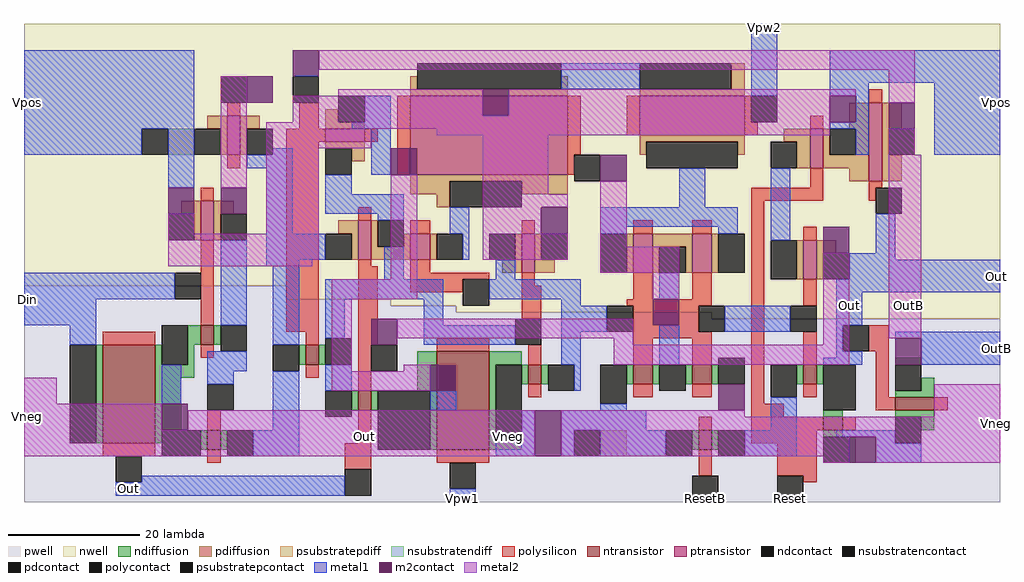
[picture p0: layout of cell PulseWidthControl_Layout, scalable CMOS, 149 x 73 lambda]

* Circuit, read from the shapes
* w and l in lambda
.subckt PulseWidthControl_Layout Din Out OutB Reset ResetB Vneg Vpos Vpw1 Vpw2
M1 Vneg Out Din Vneg nfet w=15 l=8
M2 n1 Din Vneg Vneg nfet w=3 l=2
M3 n2 n1 Vneg Vneg nfet w=3 l=2
M4 n3 OutB n2 Vneg nfet w=3 l=2
M5 n4 Out n3 Vneg nfet w=3 l=2
M6 Vneg Vpw1 n4 Vneg nfet w=15 l=8
M7 n5 n3 Vneg Vneg nfet w=3 l=2
M8 n6 n5 Vneg Vneg nfet w=3 l=3 m=2
M9 n7 ResetB Vneg Vneg nfet w=3 l=2
M10 Out n5 n7 Vneg nfet w=3 l=2
M11 Out Reset Vneg Vneg nfet w=3 l=2
M12 OutB Out Vneg Vneg nfet w=6 l=2
M13 n1 Din Vpos Vpos pfet w=6 l=2
M14 n2 n1 Vpos Vpos pfet w=6 l=2
M15 n4 OutB n3 Vpos pfet w=6 l=2
M16 n3 Out n2 Vpos pfet w=6 l=2
M17 n8 n5 n3 Vpos pfet w=4 l=3
M18 Vpos n6 n8 Vpos pfet w=24 l=12
M19 Vpos n3 n5 Vpos pfet w=6 l=2
M20 n6 n5 n9 Vpos pfet w=6 l=3 m=2
M21 Vpos Vpw2 n9 Vpos pfet w=16 l=6
M22 Out n5 n10 Vpos pfet w=6 l=2
M23 Vpos Reset n10 Vpos pfet w=6 l=2
M24 OutB Out Vpos Vpos pfet w=12 l=2
.ends

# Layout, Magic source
magic
tech scmos
<< nwell >>
rect -27 53 122 93
rect 13 51 122 53
rect 29 50 122 51
rect 39 49 122 50
rect 78 48 122 49
<< pwell >>
rect -27 51 13 53
rect -27 50 29 51
rect -27 49 39 50
rect -27 48 78 49
rect -27 20 122 48
<< ntransistor >>
rect -15 29 -7 44
rect 0 44 2 47
rect 16 41 18 44
rect 24 34 26 37
rect 1 28 3 31
rect 36 28 44 43
rect 50 38 52 41
rect 66 38 69 41
rect 75 38 78 41
rect 92 38 94 41
rect 106 34 112 36
rect 95 31 98 33
rect 76 28 78 31
<< ptransistor >>
rect 4 73 6 79
rect 19 75 25 77
rect 0 60 2 66
rect 32 70 56 82
rect 67 76 83 82
rect 93 71 95 77
rect 102 69 104 81
rect 24 57 26 63
rect 32 57 35 61
rect 49 55 51 61
rect 66 55 69 61
rect 75 55 78 61
rect 92 54 94 60
<< ndiffusion >>
rect -16 29 -15 44
rect -7 41 -6 44
rect -2 44 0 47
rect 2 44 3 47
rect -2 41 -1 44
rect -7 39 -1 41
rect 15 41 16 44
rect 18 41 19 44
rect -7 31 -3 39
rect 33 37 36 43
rect 23 34 24 37
rect 26 34 27 37
rect -7 29 -6 31
rect 0 28 1 31
rect 3 28 4 31
rect 35 28 36 37
rect 44 41 49 43
rect 44 30 45 41
rect 49 38 50 41
rect 52 38 53 41
rect 65 38 66 41
rect 69 38 70 41
rect 74 38 75 41
rect 78 38 79 41
rect 91 38 92 41
rect 94 38 95 41
rect 106 41 110 42
rect 110 37 112 39
rect 106 36 112 37
rect 95 33 98 34
rect 106 33 112 34
rect 44 28 49 30
rect 75 28 76 31
rect 78 28 79 31
rect 95 30 98 31
rect 99 26 100 30
rect 110 31 112 33
<< pdiffusion >>
rect 32 83 33 85
rect 55 83 56 85
rect 32 82 56 83
rect 81 83 83 87
rect 67 82 83 83
rect 1 77 4 79
rect 3 73 4 77
rect 6 77 9 79
rect 19 78 21 80
rect 19 77 25 78
rect 6 73 7 77
rect -3 64 0 66
rect -1 60 0 64
rect 2 64 5 66
rect 2 60 3 64
rect 19 74 25 75
rect 23 72 25 74
rect 99 77 102 81
rect 67 75 83 76
rect 89 75 93 77
rect 67 73 68 75
rect 32 69 56 70
rect 82 73 83 75
rect 91 71 93 75
rect 95 73 96 77
rect 100 73 102 77
rect 95 71 102 73
rect 32 67 38 69
rect 36 65 38 67
rect 49 67 56 69
rect 99 69 102 71
rect 104 77 107 81
rect 104 73 105 77
rect 104 69 107 73
rect 21 61 24 63
rect 23 57 24 61
rect 26 59 27 63
rect 31 59 32 61
rect 26 57 32 59
rect 35 57 36 61
rect 48 57 49 61
rect 46 55 49 57
rect 51 57 52 61
rect 51 55 54 57
rect 65 55 66 61
rect 69 59 75 61
rect 69 55 70 59
rect 74 55 75 59
rect 78 55 79 61
rect 91 54 92 60
rect 94 58 97 60
rect 94 54 95 58
<< ndcontact >>
rect -20 29 -16 44
rect -6 41 -2 47
rect 3 43 7 47
rect 11 40 15 44
rect 19 41 23 45
rect 19 33 23 37
rect -6 27 0 31
rect 4 27 8 31
rect 27 28 35 37
rect 45 30 49 41
rect 53 37 57 41
rect 61 35 65 41
rect 70 37 74 41
rect 79 38 83 42
rect 87 36 91 41
rect 95 34 100 41
rect 106 37 110 41
rect 71 27 75 31
rect 79 27 83 31
rect 95 26 99 30
rect 106 29 110 33
<< pdcontact >>
rect 33 83 55 87
rect 67 83 81 87
rect -1 73 3 77
rect 21 78 25 82
rect 7 73 11 77
rect -5 60 -1 64
rect 3 60 7 64
rect 19 70 23 74
rect 68 71 82 75
rect 87 71 91 75
rect 96 73 100 77
rect 38 65 49 69
rect 105 73 109 77
rect 19 57 23 61
rect 27 59 31 63
rect 36 57 40 61
rect 44 57 48 61
rect 52 57 56 61
rect 61 55 65 61
rect 70 55 74 59
rect 79 55 83 61
rect 87 54 91 60
rect 95 54 99 58
<< psubstratepdiff >>
rect 61 27 65 31
<< nsubstratendiff >>
rect -5 73 -1 77
<< psubstratepcontact >>
rect 57 27 61 31
<< nsubstratencontact >>
rect -9 73 -5 77
<< polysilicon >>
rect 4 79 6 81
rect 15 77 18 81
rect 13 75 19 77
rect 25 75 27 77
rect 4 71 6 73
rect 0 66 2 68
rect 0 47 2 60
rect -15 44 -7 46
rect 0 42 2 44
rect 13 46 18 75
rect 30 70 32 82
rect 56 73 58 82
rect 65 76 67 82
rect 83 78 84 82
rect 102 81 104 83
rect 83 76 85 78
rect 93 77 95 79
rect 56 70 57 73
rect 93 68 95 71
rect 84 66 95 68
rect 102 68 104 69
rect 102 66 103 68
rect 24 63 26 65
rect 32 61 35 63
rect 49 61 51 63
rect 66 61 69 63
rect 75 61 78 63
rect 16 44 18 46
rect 24 56 26 57
rect 24 44 27 56
rect 32 55 35 57
rect 32 54 44 55
rect 32 52 40 54
rect 49 53 51 55
rect 49 48 52 53
rect 66 51 69 55
rect 75 51 78 55
rect 65 50 78 51
rect 16 39 18 41
rect 24 37 26 44
rect 36 43 44 45
rect 66 46 76 50
rect 1 31 3 34
rect -15 27 -7 29
rect 1 26 3 28
rect 24 29 26 34
rect 22 25 26 29
rect 50 41 52 44
rect 66 45 78 46
rect 66 41 69 45
rect 75 41 78 45
rect 50 36 52 38
rect 66 36 69 38
rect 75 36 78 38
rect 84 35 86 66
rect 92 60 94 62
rect 92 50 94 54
rect 92 41 94 46
rect 102 43 105 47
rect 92 36 94 38
rect 84 33 89 35
rect 103 36 105 43
rect 103 34 106 36
rect 112 34 114 36
rect 76 31 78 33
rect 84 31 95 33
rect 98 31 100 33
rect 36 26 44 28
rect 76 24 78 28
rect 84 29 94 31
rect 88 24 94 29
rect 92 23 94 24
<< polycontact >>
rect 3 81 7 85
rect 14 81 18 85
rect -4 51 0 55
rect 84 78 88 82
rect 57 69 61 73
rect 40 50 44 54
rect 1 34 5 38
rect 26 40 30 44
rect 48 44 52 48
rect 62 46 66 50
rect 76 46 80 50
rect -13 23 -9 27
rect 103 64 107 68
rect 90 46 94 50
rect 98 43 102 47
rect 22 21 26 25
rect 38 22 42 26
rect 75 20 79 24
rect 88 20 92 24
<< metal1 >>
rect -27 77 -1 89
rect 55 83 67 87
rect 25 78 29 82
rect 84 82 88 93
rect 96 84 122 89
rect 96 82 102 84
rect 100 78 102 82
rect 23 77 29 78
rect -27 73 -9 77
rect -5 68 -1 77
rect 11 73 14 74
rect 7 71 14 73
rect -27 51 -4 55
rect -27 47 -16 51
rect 3 47 7 60
rect 10 61 14 71
rect 26 70 29 77
rect 96 77 102 78
rect 19 67 23 70
rect 100 73 102 77
rect 112 73 122 84
rect 19 64 31 67
rect 27 63 31 64
rect 10 57 19 61
rect 73 65 77 71
rect 38 61 41 65
rect 10 56 15 57
rect -20 44 -16 47
rect -6 35 -3 41
rect 1 40 7 43
rect 11 44 15 56
rect 28 54 31 59
rect 40 57 41 61
rect 61 62 82 65
rect 61 61 65 62
rect 45 54 48 57
rect 79 61 82 62
rect 87 60 90 71
rect 1 38 5 40
rect 11 31 15 40
rect 19 51 37 54
rect 19 45 22 51
rect 19 37 23 41
rect 34 47 37 51
rect 44 51 58 54
rect 70 51 73 55
rect 103 58 106 64
rect 99 57 106 58
rect 99 54 122 57
rect 55 50 58 51
rect 34 44 48 47
rect 55 46 62 50
rect 97 52 122 54
rect 55 41 58 46
rect 70 41 73 47
rect 80 46 90 50
rect 97 47 101 52
rect 97 43 98 47
rect 106 45 122 46
rect 97 42 101 43
rect 8 27 15 31
rect 35 34 39 37
rect 57 37 58 41
rect 95 41 101 42
rect 110 41 122 45
rect 61 34 65 35
rect 49 30 51 34
rect 45 27 51 30
rect 55 31 68 34
rect 87 31 91 36
rect 55 27 57 31
rect 61 27 71 31
rect 83 27 91 31
rect 97 30 106 31
rect 103 29 106 30
rect 103 26 110 29
rect -9 23 22 24
rect -13 21 22 23
rect 38 20 42 22
<< m2contact >>
rect 14 85 18 89
rect 7 81 11 85
rect 43 79 47 83
rect 96 78 100 82
rect -5 64 -1 68
rect 3 64 7 68
rect 29 70 33 74
rect 61 69 65 73
rect 105 77 109 81
rect 52 61 56 65
rect -6 31 -2 35
rect 26 44 30 48
rect 95 58 99 62
rect 69 47 73 51
rect 35 37 39 41
rect 106 41 110 45
rect 79 34 83 38
rect 51 27 55 34
rect 99 26 103 30
<< metal2 >>
rect 18 86 109 89
rect 3 68 7 85
rect 21 82 43 83
rect 14 79 43 82
rect 47 82 100 83
rect 47 79 96 82
rect 14 78 96 79
rect 105 81 109 86
rect 10 77 96 78
rect 10 74 26 77
rect 36 76 96 77
rect -5 61 -1 64
rect 10 61 18 74
rect -5 57 18 61
rect -5 56 17 57
rect 29 54 33 70
rect 43 67 53 76
rect 105 73 109 77
rect 43 65 56 67
rect 43 61 52 65
rect 43 57 56 61
rect 61 59 65 69
rect 61 55 73 59
rect 20 51 33 54
rect 69 51 73 55
rect 20 40 23 51
rect 30 45 66 48
rect 63 44 66 45
rect 95 44 99 58
rect 105 45 110 73
rect 63 41 99 44
rect 31 40 35 41
rect -27 35 -22 39
rect 20 37 35 40
rect -27 31 -6 35
rect -2 31 51 34
rect -27 27 51 31
rect 55 33 83 34
rect 112 33 122 38
rect 55 30 122 33
rect 55 27 99 30
rect 95 26 99 27
rect 103 26 122 30
<< labels >>
rlabel metal1 84 92 88 93 5 Vpw2
rlabel metal1 99 50 99 50 1 Out
rlabel metal2 108 50 108 50 7 OutB
rlabel ndcontact 47 30 47 30 7 Vneg
rlabel metal1 -11 22 -11 22 1 Out
rlabel polysilicon 25 30 25 30 1 Out
rlabel metal1 121 41 122 46 7 OutB
rlabel metal1 121 52 122 57 7 Out
rlabel metal2 121 26 122 38 7 Vneg
rlabel metal1 121 73 122 89 7 Vpos
rlabel metal1 -27 73 -26 89 3 Vpos
rlabel metal2 -27 27 -26 39 3 Vneg
rlabel metal1 -27 47 -26 55 3 Din
rlabel metal1 38 20 42 21 1 Vpw1
rlabel polycontact 88 20 92 21 1 Reset
rlabel polycontact 75 20 79 21 1 ResetB
<< end >>
